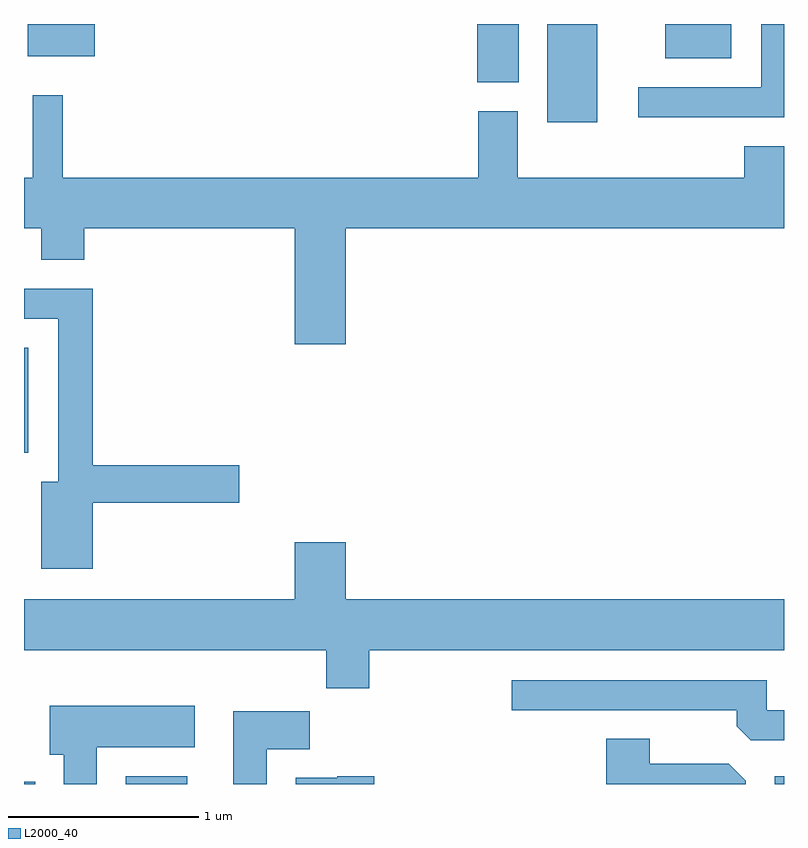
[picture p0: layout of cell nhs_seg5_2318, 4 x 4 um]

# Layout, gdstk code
import gdstk
lib = gdstk.Library(unit=1e-6, precision=1e-09)
def R(c, l, rs):  # rectangles x0, y0, x1, y1
    for r in rs: c.add(gdstk.rectangle(r[:2], r[2:], *l))
def P(c, l, *ps):  # polygons
    for p in ps: c.add(gdstk.Polygon(p, *l))
L2000_40 = (2000, 40)

nhs_seg5_2318 = lib.new_cell('nhs_seg5_2318')
R(nhs_seg5_2318, L2000_40, [(253.611,1476.072,253.669,1476.084), (254.146,1476.072,254.469,1476.114), (257.561,1476.072,257.611,1476.114), (253.611,1477.816,253.634,1478.369), (256.366,1479.556,256.629,1480.072), (255.996,1479.766,256.214,1480.072), (256.986,1479.891,257.334,1480.072), (253.631,1479.901,253.984,1480.072)])
P(nhs_seg5_2318, L2000_40, [(257.611,1480.072),(257.491,1480.072),(257.491,1479.739),(256.843,1479.739),(256.843,1479.581),(257.611,1479.581)],
  [(255.304,1478.996),(257.611,1478.996),(257.611,1479.429),(257.401,1479.429),(257.401,1479.264),(256.209,1479.264),(256.209,1479.614),(256.001,1479.614),(256.001,1479.264),(253.814,1479.264),(253.814,1479.698),(253.656,1479.698),(253.656,1479.264),(253.611,1479.264),(253.611,1478.996),(253.701,1478.996),(253.701,1478.831),(253.929,1478.831),(253.929,1478.996),(255.036,1478.996),(255.036,1478.386),(255.304,1478.386)],
  [(253.974,1477.551),(254.744,1477.551),(254.744,1477.749),(253.974,1477.749),(253.974,1478.679),(253.611,1478.679),(253.611,1478.521),(253.791,1478.521),(253.791,1477.664),(253.701,1477.664),(253.701,1477.206),(253.974,1477.206)],
  [(255.304,1477.344),(255.036,1477.344),(255.036,1477.044),(253.611,1477.044),(253.611,1476.776),(255.201,1476.776),(255.201,1476.576),(255.429,1476.576),(255.429,1476.776),(257.611,1476.776),(257.611,1477.044),(255.304,1477.044)],
  [(257.611,1476.459),(257.519,1476.459),(257.519,1476.619),(256.178,1476.619),(256.178,1476.461),(257.361,1476.461),(257.361,1476.377),(257.437,1476.301),(257.611,1476.301)],
  [(253.994,1476.266),(254.509,1476.266),(254.509,1476.484),(253.746,1476.484),(253.746,1476.226),(253.821,1476.226),(253.821,1476.072),(253.994,1476.072)],
  [(254.889,1476.256),(255.114,1476.256),(255.114,1476.454),(254.711,1476.454),(254.711,1476.072),(254.889,1476.072)],
  [(257.409,1476.089),(257.319,1476.179),(256.904,1476.179),(256.904,1476.309),(256.676,1476.309),(256.676,1476.072),(257.409,1476.072)],
  [(255.454,1476.114),(255.26,1476.114),(255.26,1476.104),(255.041,1476.104),(255.041,1476.072),(255.454,1476.072)])

lib.write_gds('nhs_seg5_2318.gds')
